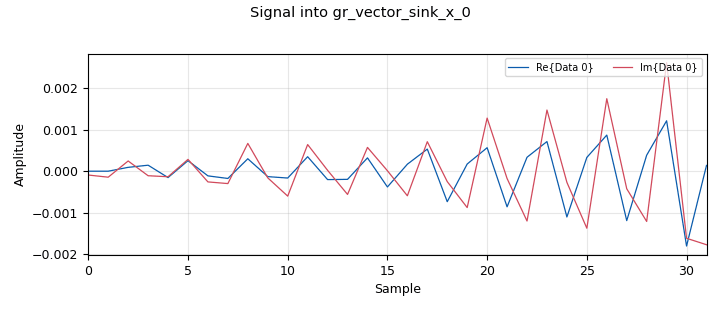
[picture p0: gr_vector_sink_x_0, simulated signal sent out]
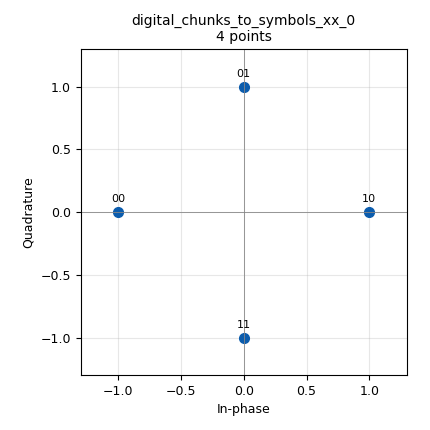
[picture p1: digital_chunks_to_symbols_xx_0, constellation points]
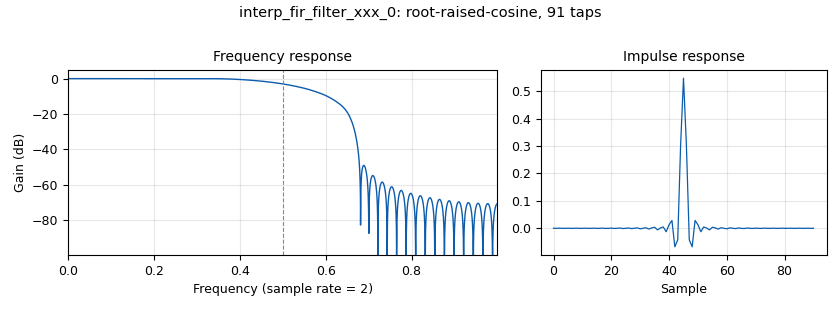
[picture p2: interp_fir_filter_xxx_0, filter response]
<?xml version='1.0' encoding='utf-8'?>
<flow_graph>
<block>
<key>options</key>
<param><key>id</key><value>gen_mf</value></param>
<param><key>generate_options</key><value>no_gui</value></param>
<param><key>category</key><value>Custom</value></param>
<param><key>run_options</key><value>run</value></param>
<param><key>pre_hook</key><value>None</value></param>
<param><key>post_hook</key><value>None</value></param>
</block>
<block>
<key>variable</key>
<param><key>id</key><value>samp_rate</value></param>
<param><key>value</key><value>32000</value></param>
</block>
<block>
<key>import</key>
<param><key>id</key><value>import_0</value></param>
<param><key>import</key><value>import es</value></param>
</block>
<block>
<key>gr_pack_k_bits_bb</key>
<param><key>id</key><value>gr_pack_k_bits_bb_0</value></param>
<param><key>k</key><value>2</value></param>
</block>
<block>
<key>gr_packed_to_unpacked_xx</key>
<param><key>id</key><value>gr_packed_to_unpacked_xx_0_0</value></param>
<param><key>type</key><value>byte</value></param>
<param><key>bits_per_chunk</key><value>8</value></param>
<param><key>endianness</key><value>gr.GR_LSB_FIRST</value></param>
<param><key>num_ports</key><value>1</value></param>
</block>
<block>
<key>digital_diff_encoder_bb</key>
<param><key>id</key><value>digital_diff_encoder_bb_0</value></param>
<param><key>modulus</key><value>4</value></param>
</block>
<block>
<key>digital_map_bb</key>
<param><key>id</key><value>digital_map_bb_0_1</value></param>
<param><key>map</key><value>[0,1,3,2]</value></param>
</block>
<block>
<key>digital_chunks_to_symbols_xx</key>
<param><key>id</key><value>digital_chunks_to_symbols_xx_0</value></param>
<param><key>in_type</key><value>byte</value></param>
<param><key>out_type</key><value>complex</value></param>
<param><key>symbol_table</key><value>[-1,1j,1,-1j]</value></param>
<param><key>dimension</key><value>1</value></param>
</block>
<block>
<key>variable</key>
<param><key>id</key><value>rrc_taps</value></param>
<param><key>value</key><value>gr.firdes.root_raised_cosine(1.0, 2.0, 1.0, 0.35, 91)</value></param>
</block>
<block>
<key>gr_vector_source_x</key>
<param><key>id</key><value>vec_src</value></param>
<param><key>type</key><value>byte</value></param>
<param><key>vector</key><value>[15, 255, 240, 0, 0, 0, 15, 240, 240, 255, 240, 255, 255, 255, 240, 0, 240, 240, 15, 255, 172, 172, 222, 203, 250, 251, 14, 240, 151, 23, 130, 26]</value></param>
<param><key>repeat</key><value>False</value></param>
<param><key>vlen</key><value>1</value></param>
</block>
<block>
<key>interp_fir_filter_xxx</key>
<param><key>id</key><value>interp_fir_filter_xxx_0</value></param>
<param><key>type</key><value>ccc</value></param>
<param><key>interp</key><value>2</value></param>
<param><key>taps</key><value>rrc_taps</value></param>
</block>
<block>
<key>gr_vector_sink_x</key>
<param><key>id</key><value>gr_vector_sink_x_0</value></param>
<param><key>type</key><value>complex</value></param>
<param><key>vlen</key><value>1</value></param>
</block>
<connection><source_block_id>digital_chunks_to_symbols_xx_0</source_block_id><sink_block_id>interp_fir_filter_xxx_0</sink_block_id><source_key>0</source_key><sink_key>0</sink_key></connection>
<connection><source_block_id>digital_diff_encoder_bb_0</source_block_id><sink_block_id>digital_chunks_to_symbols_xx_0</sink_block_id><source_key>0</source_key><sink_key>0</sink_key></connection>
<connection><source_block_id>gr_pack_k_bits_bb_0</source_block_id><sink_block_id>digital_map_bb_0_1</sink_block_id><source_key>0</source_key><sink_key>0</sink_key></connection>
<connection><source_block_id>digital_map_bb_0_1</source_block_id><sink_block_id>digital_diff_encoder_bb_0</sink_block_id><source_key>0</source_key><sink_key>0</sink_key></connection>
<connection><source_block_id>gr_packed_to_unpacked_xx_0_0</source_block_id><sink_block_id>gr_pack_k_bits_bb_0</sink_block_id><source_key>0</source_key><sink_key>0</sink_key></connection>
<connection><source_block_id>vec_src</source_block_id><sink_block_id>gr_packed_to_unpacked_xx_0_0</sink_block_id><source_key>0</source_key><sink_key>0</sink_key></connection>
<connection><source_block_id>interp_fir_filter_xxx_0</source_block_id><sink_block_id>gr_vector_sink_x_0</sink_block_id><source_key>0</source_key><sink_key>0</sink_key></connection>
</flow_graph>
